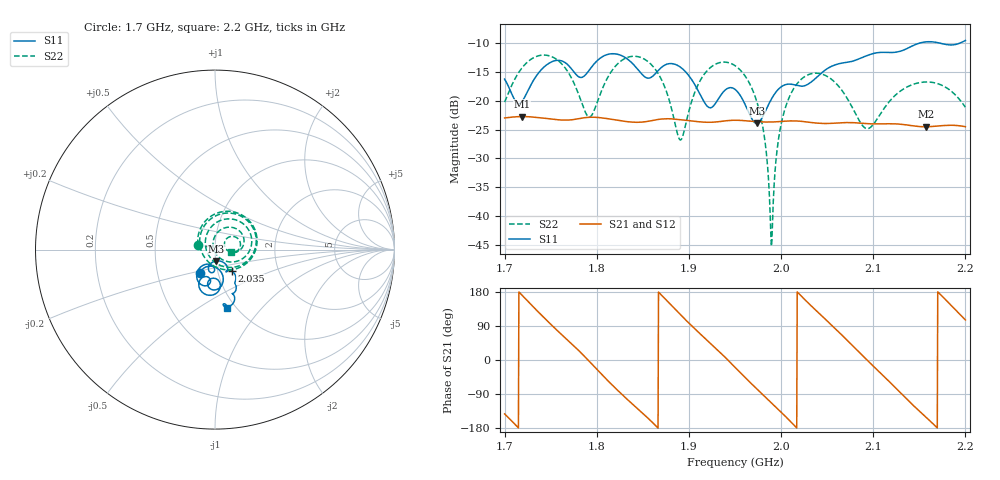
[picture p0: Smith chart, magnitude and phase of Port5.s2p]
# Hz S RI R 50
! CMT, CMT808U, 21440046, 21.4.3/4
! Date: 11/17/2025 2:40:28 PM
! Data: Format (Calibration Info)
! Freq	S11:Re/Im(F2)	S41:Re/Im(F2)	S14:Re/Im(F2)	S44:Re/Im(F2)
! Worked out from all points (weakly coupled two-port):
!   1001 points, 1.7 GHz to 2.2 GHz, reference 50 ohm
!   highest |S21| = -22.73 dB at 1.719 GHz (marker M1); lowest = -24.5 dB at 2.157 GHz (marker M2)
!   lowest |S11| = -23.9 dB at 1.974 GHz (marker M3), VSWR 1.14, Z = 50.4 - j6.39 ohm
!   |S11| at or under -10 dB: start of sweep to 2.15 GHz; 2.173 GHz to 2.194 GHz (20.7 MHz wide, 0.948 % of centre)
!   |S22| runs from -45.2 to -12.0 dB; largest |S21 - S12| = 0.00021
!   S11 on the Smith chart (normalised r, x): 1.7 GHz: 0.82, -0.22; 2.035 GHz: 1.17, -0.28; 2.2 GHz: 0.91, -0.67
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1.7e9  -0.0818 -0.131  -0.0562 -0.0434  -0.0563 -0.0434  -0.0944 0.0245
1.719e9  0.00347 -0.0989  -0.0721 0.0118  -0.0721 0.0119  -0.00968 0.1937
1.754e9  0.00951 -0.2225  0.00594 0.0688  0.00602 0.0688  0.2336 0.031
1.7835e9  -0.00381 -0.1597  0.0675 0.0213  0.0675 0.0212  0.00398 -0.097
1.794e9  0.0291 -0.1926  0.0712 -0.0114  0.0712 -0.0115  -0.0714 -0.0199
1.8245e9  -0.0647 -0.2429  0.00666 -0.0671  0.00658 -0.0671  0.0725 0.2037
1.867e9  -0.026 -0.1826  -0.069 0.000928  -0.0691 0.00104  0.1482 -0.0844
1.891e9  -0.0978 -0.1695  -0.0333 0.0601  -0.0332 0.0602  -0.0423 -0.0173
1.917e9  -0.051 -0.0819  0.0344 0.0555  0.0345 0.0554  0.0429 0.1665
1.95e9  -0.0314 -0.122  0.0641 -0.0223  0.0641 -0.0224  0.2015 0.0182
1.9735e9  0.00791 -0.0631  0.0161 -0.064  0.016 -0.0641  0.0731 -0.0675
1.9825e9  0.0416 -0.0684  -0.00771 -0.0651  -0.00781 -0.0651  0.0197 -0.0402
1.9895e9  0.0613 -0.0836  -0.0255 -0.0604  -0.0256 -0.0604  -0.00498 -0.00227
1.9965e9  0.0704 -0.103  -0.0416 -0.0511  -0.0417 -0.0511  -0.0104 0.0412
2.0035e9  0.0689 -0.1186  -0.055 -0.0374  -0.0551 -0.0373  0.00313 0.0813
2.0335e9  0.0886 -0.1179  -0.0503 0.0408  -0.0502 0.0409  0.1416 0.0987
2.035e9  0.092 -0.1194  -0.0476 0.0436  -0.0475 0.0437  0.1461 0.0934
2.06e9  0.1147 -0.1724  0.0111 0.0632  0.0112 0.0632  0.1409 -0.00106
2.092e9  0.1183 -0.2146  0.0634 0.00318  0.0635 0.0031  0.0561 0.0134
2.117e9  0.0959 -0.2452  0.0354 -0.0525  0.0353 -0.0525  0.0715 0.0665
2.157e9  0.0831 -0.3145  -0.0518 -0.0294  -0.0519 -0.0294  0.1395 0.0427
2.2e9  0.068 -0.3276  -0.0162 0.0574  -0.0161 0.0575  0.087 -0.0129
